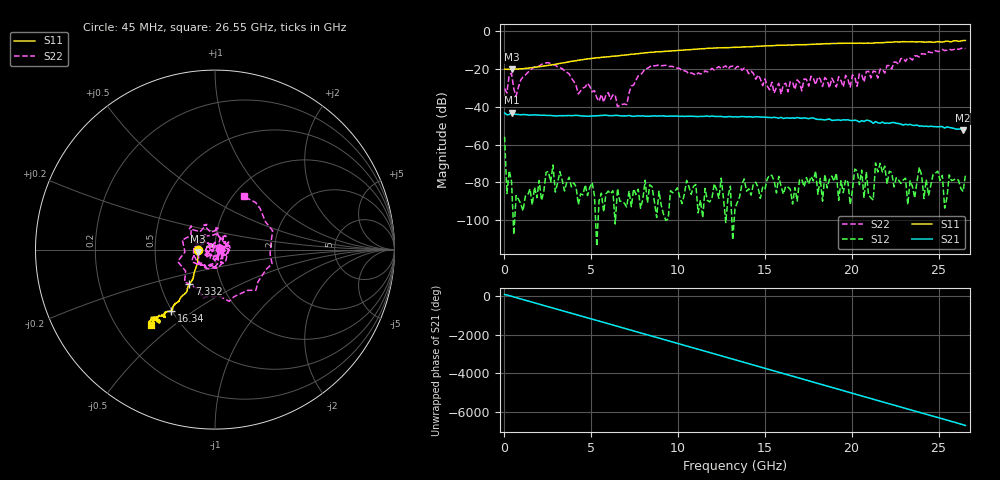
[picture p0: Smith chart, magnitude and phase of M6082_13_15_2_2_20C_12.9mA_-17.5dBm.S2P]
!  2-Port S-parameters saved by WinCal
! VAR MeasName=S-Parameters (CALIBRATED_DATA) read from VNA (C)
! VAR MeasDate=10/16/2015 12:53:59 PM
! VAR NAME=M6082_13_15_2_2_20C_12.9mA_-17.5dBm
! VAR FILENAME=M6082_13_15_2_2_20C_12.9mA_-17.5dBm.S2P
! VAR DATE=10/16/2015 12:53:59 PM
! VAR PHYS_PORTS=2,1
! VAR ObjTypeName=DATASET
! VAR IndexType=Frequency
# Hz S DB R 50
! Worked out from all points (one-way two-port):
!   201 points, 45 MHz to 26.55 GHz, reference 50 ohm
!   highest |S21| = -43.20 dB at 442.5 MHz (marker M1); lowest = -52.5 dB at 26.41 GHz (marker M2)
!   lowest |S11| = -20.4 dB at 442.5 MHz (marker M3), VSWR 1.21, Z = 41.3 - j0.927 ohm
!   |S11| at or under -10 dB: start of sweep to 10.72 GHz
!   |S22| runs from -40.1 to -9.2 dB; largest |S21 - S12| = 0.0079
!   S11 on the Smith chart (normalised r, x): 45 MHz: 0.82, +0.00; 7.332 GHz: 0.70, -0.29; 16.34 GHz: 0.49, -0.41; 26.55 GHz: 0.34, -0.41
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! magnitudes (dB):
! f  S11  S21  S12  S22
! 45 MHz  -20.3  -43.3  -55.9  -30.5
! 177.5 MHz  -20.4  -44.4  -85.9  -32.8
! 442.5 MHz  -20.4  -43.2  -79.3  -22.4
! 707.5 MHz  -20.3  -44.1  -86.9  -34.5
! 2.43 GHz  -18.5  -44.7  -74.6  -16.9
! 4.55 GHz  -15.3  -45.0  -86.5  -30.3
! 6.537 GHz  -13.3  -44.6  -83.2  -40.1
! 7.067 GHz  -12.8  -44.9  -92.9  -39.0
! 7.332 GHz  -12.4  -45.0  -92.8  -29.1
! 8.922 GHz  -11.1  -44.9  -84.6  -18.0
! 13.29 GHz  -8.7  -45.4  -93.6  -20.1
! 16.34 GHz  -7.5  -46.0  -82.5  -32.2
! 17.8 GHz  -7.2  -46.0  -79.1  -25.1
! 20.32 GHz  -6.6  -47.4  -73.8  -29.3
! 20.45 GHz  -6.5  -48.1  -81.2  -22.6
! 21.25 GHz  -6.5  -48.9  -89.3  -21.3
! 21.38 GHz  -6.4  -47.9  -69.7  -21.6
! 21.91 GHz  -6.2  -48.9  -71.4  -22.3
! 22.04 GHz  -6.1  -48.7  -80.9  -18.3
! 22.17 GHz  -6.1  -48.9  -74.1  -18.4
! 26.41 GHz  -5.1  -52.5  -84.8  -9.2
! 26.55 GHz  -5.2  -52.1  -76.2  -9.5
